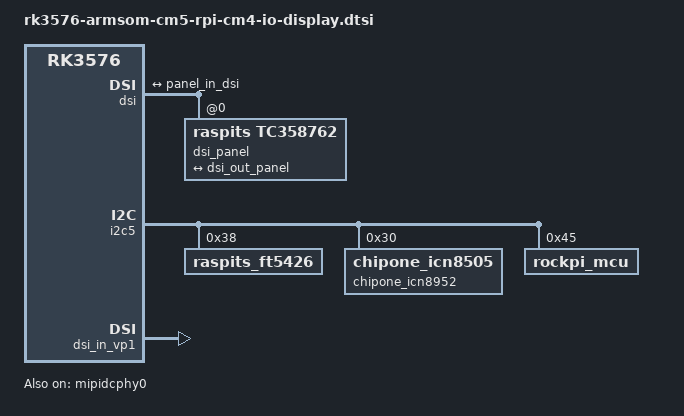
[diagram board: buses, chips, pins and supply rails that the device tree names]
/*
 * mipidcphy0 needs to be enabled
 * when dsi is enabled
 */

&dsi {
	status = "okay";
	#address-cells = <1>;
	#size-cells = <0>;
	rockchip,lane-rate = <605>;

	dsi_panel: dsi-panel@0 {
		compatible = "raspits,tc358762";
		reg = <0x0>;
		status = "okay";

		ports {
			#address-cells = <1>;
			#size-cells = <0>;

			port@0 {
				reg = <0>;
				panel_in_dsi: endpoint {
					remote-endpoint = <&dsi_out_panel>;
				};
			};
		};
	};

	ports {
		#address-cells = <1>;
		#size-cells = <0>;

		port@1 {
			reg = <1>;
			dsi_out_panel: endpoint {
				remote-endpoint = <&panel_in_dsi>;
			};
		};
	};
};

&i2c5 {
	status = "okay";
	pinctrl-0 = <&i2c5m3_xfer>;
	#address-cells = <1>;
	#size-cells = <0>;

	raspits_ft5426: raspits_ft5426@38 {
		compatible = "raspits_ft5426";
		reg = <0x38>;
	};

	chipone_icn8952: chipone_icn8952@30 {
		compatible = "chipone_icn8505";
		reg = <0x30>;
	};

	rockpi_mcu: rockpi-mcu@45 {
		compatible = "rockpi_mcu";
		reg = <0x45>;
	};
};

&mipidcphy0 {
	status = "okay";
};

&route_dsi {
	status = "disabled";
};

&dsi_in_vp1 {
	status = "okay";
};


&vp1 {
	assigned-clocks = <&cru DCLK_VP1_SRC>;
	assigned-clock-parents = <&cru PLL_VPLL>;
};
